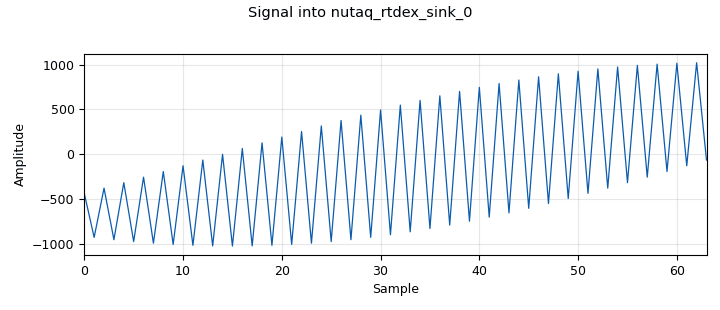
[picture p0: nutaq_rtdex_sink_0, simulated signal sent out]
<?xml version='1.0' encoding='utf-8'?>
<?grc format='1' created='3.7.8'?>
<flow_graph>
<block>
<key>options</key>
<param><key>id</key><value>wifi_tx</value></param>
<param><key>category</key><value>Custom</value></param>
<param><key>generate_options</key><value>qt_gui</value></param>
<param><key>run_options</key><value>run</value></param>
</block>
<block>
<key>variable</key>
<param><key>id</key><value>decimation</value></param>
<param><key>value</key><value>40</value></param>
</block>
<block>
<key>variable_qtgui_chooser</key>
<param><key>id</key><value>encoding</value></param>
<param><key>value</key><value>0</value></param>
<param><key>label0</key><value>"BPSK 1/2"  </value></param>
<param><key>label1</key><value>"BPSK 3/4"</value></param>
<param><key>label2</key><value>"QPSK 1/2"</value></param>
<param><key>label</key><value>Encoding</value></param>
<param><key>num_opts</key><value>3</value></param>
<param><key>option0</key><value>0</value></param>
<param><key>option1</key><value>1</value></param>
<param><key>option2</key><value>2</value></param>
<param><key>type</key><value>int</value></param>
</block>
<block>
<key>variable_chooser</key>
<param><key>id</key><value>encoding</value></param>
<param><key>choices</key><value>[0,1,2,3,4,5,6,7]</value></param>
<param><key>value</key><value>0</value></param>
<param><key>_enabled</key><value>0</value></param>
<param><key>label</key><value>Encoding</value></param>
<param><key>labels</key><value>["BPSK 1/2", "BPSK 3/4", "QPSK 1/2", "QPSK 3/4", "16QAM 1/2", "16QAM 3/4", "64QAM 2/3", "64QAM 3/4"]</value></param>
<param><key>style</key><value>wx.RA_HORIZONTAL</value></param>
<param><key>type</key><value>radio_buttons</value></param>
</block>
<block>
<key>variable_qtgui_range</key>
<param><key>id</key><value>mult</value></param>
<param><key>value</key><value>0.5</value></param>
<param><key>orient</key><value>Qt.Horizontal</value></param>
<param><key>start</key><value>0</value></param>
<param><key>step</key><value>0.001</value></param>
<param><key>stop</key><value>2</value></param>
</block>
<block>
<key>variable_slider</key>
<param><key>id</key><value>mult</value></param>
<param><key>converver</key><value>float_converter</value></param>
<param><key>value</key><value>.4</value></param>
<param><key>_enabled</key><value>0</value></param>
<param><key>label</key><value></value></param>
<param><key>max</key><value>2</value></param>
<param><key>min</key><value>0</value></param>
<param><key>num_steps</key><value>100</value></param>
<param><key>style</key><value>wx.SL_HORIZONTAL</value></param>
</block>
<block>
<key>variable</key>
<param><key>id</key><value>out_buf_size</value></param>
<param><key>value</key><value>96000</value></param>
</block>
<block>
<key>variable_qtgui_range</key>
<param><key>id</key><value>pdu_length</value></param>
<param><key>value</key><value>100</value></param>
<param><key>orient</key><value>Qt.Horizontal</value></param>
<param><key>start</key><value>0</value></param>
<param><key>step</key><value>1</value></param>
<param><key>stop</key><value>1500</value></param>
<param><key>rangeType</key><value>int</value></param>
</block>
<block>
<key>variable_slider</key>
<param><key>id</key><value>pdu_length</value></param>
<param><key>converver</key><value>int_converter</value></param>
<param><key>value</key><value>100</value></param>
<param><key>_enabled</key><value>0</value></param>
<param><key>label</key><value></value></param>
<param><key>max</key><value>1500</value></param>
<param><key>min</key><value>0</value></param>
<param><key>num_steps</key><value>1000</value></param>
<param><key>style</key><value>wx.SL_HORIZONTAL</value></param>
</block>
<block>
<key>variable_qtgui_range</key>
<param><key>id</key><value>period</value></param>
<param><key>value</key><value>1000</value></param>
<param><key>orient</key><value>Qt.Horizontal</value></param>
<param><key>start</key><value>1</value></param>
<param><key>step</key><value>1</value></param>
<param><key>stop</key><value>10000</value></param>
</block>
<block>
<key>variable_slider</key>
<param><key>id</key><value>period</value></param>
<param><key>converver</key><value>int_converter</value></param>
<param><key>value</key><value>100</value></param>
<param><key>_enabled</key><value>0</value></param>
<param><key>label</key><value></value></param>
<param><key>max</key><value>10000</value></param>
<param><key>min</key><value>1</value></param>
<param><key>num_steps</key><value>1000</value></param>
<param><key>style</key><value>wx.SL_HORIZONTAL</value></param>
</block>
<block>
<key>variable</key>
<param><key>id</key><value>samp_rate</value></param>
<param><key>value</key><value>5e5</value></param>
</block>
<block>
<key>COWN_resta</key>
<param><key>id</key><value>COWN_resta_0</value></param>
<param><key>affinity</key><value>1</value></param>
</block>
<block>
<key>COWN_syncher2</key>
<param><key>id</key><value>COWN_syncher2_0</value></param>
<param><key>affinity</key><value>1</value></param>
</block>
<block>
<key>COWN_tag_generator</key>
<param><key>id</key><value>COWN_tag_generator_0</value></param>
<param><key>_enabled</key><value>0</value></param>
</block>
<block>
<key>analog_sig_source_x</key>
<param><key>id</key><value>analog_sig_source_x_0</value></param>
<param><key>amp</key><value>0.5</value></param>
<param><key>affinity</key><value>3</value></param>
<param><key>freq</key><value>5e3</value></param>
<param><key>offset</key><value>0</value></param>
<param><key>type</key><value>complex</value></param>
<param><key>samp_rate</key><value>samp_rate</value></param>
<param><key>waveform</key><value>analog.GR_COS_WAVE</value></param>
</block>
<block>
<key>blocks_complex_to_float</key>
<param><key>id</key><value>blocks_complex_to_float_0</value></param>
<param><key>affinity</key><value>3</value></param>
<param><key>minoutbuf</key><value>2**14</value></param>
</block>
<block>
<key>blocks_deinterleave</key>
<param><key>id</key><value>blocks_deinterleave_0</value></param>
<param><key>affinity</key><value>1</value></param>
<param><key>type</key><value>int</value></param>
<param><key>minoutbuf</key><value>2**15</value></param>
<param><key>num_streams</key><value>4</value></param>
</block>
<block>
<key>blocks_float_to_complex</key>
<param><key>id</key><value>blocks_float_to_complex_0</value></param>
<param><key>affinity</key><value>2</value></param>
</block>
<block>
<key>blocks_float_to_short</key>
<param><key>id</key><value>blocks_float_to_short_0_0</value></param>
<param><key>affinity</key><value>3</value></param>
<param><key>scale</key><value>2**11-1</value></param>
</block>
<block>
<key>blocks_float_to_short</key>
<param><key>id</key><value>blocks_float_to_short_0_0_0</value></param>
<param><key>affinity</key><value>3</value></param>
<param><key>scale</key><value>2**11-1</value></param>
</block>
<block>
<key>blocks_interleave</key>
<param><key>id</key><value>blocks_interleave_0</value></param>
<param><key>affinity</key><value>3</value></param>
<param><key>type</key><value>short</value></param>
</block>
<block>
<key>blocks_message_strobe</key>
<param><key>id</key><value>blocks_message_strobe_0_0</value></param>
<param><key>_enabled</key><value>0</value></param>
<param><key>msg</key><value>pmt.intern("".join("x" for i in range(pdu_length)))</value></param>
<param><key>period</key><value>period</value></param>
</block>
<block>
<key>blocks_multiply_const_vxx</key>
<param><key>id</key><value>blocks_multiply_const_vxx_0</value></param>
<param><key>const</key><value>mult</value></param>
<param><key>_enabled</key><value>0</value></param>
<param><key>type</key><value>complex</value></param>
<param><key>minoutbuf</key><value>100000</value></param>
</block>
<block>
<key>blocks_null_sink</key>
<param><key>id</key><value>blocks_null_sink_0</value></param>
<param><key>bus_conns</key><value>[[0,],]</value></param>
<param><key>_enabled</key><value>0</value></param>
<param><key>type</key><value>complex</value></param>
</block>
<block>
<key>blocks_null_sink</key>
<param><key>id</key><value>blocks_null_sink_0_0</value></param>
<param><key>bus_conns</key><value>[[0,],]</value></param>
<param><key>type</key><value>int</value></param>
</block>
<block>
<key>blocks_null_sink</key>
<param><key>id</key><value>blocks_null_sink_0_1</value></param>
<param><key>bus_conns</key><value>[[0,],]</value></param>
<param><key>type</key><value>float</value></param>
</block>
<block>
<key>blocks_null_sink</key>
<param><key>id</key><value>blocks_null_sink_0_2</value></param>
<param><key>bus_conns</key><value>[[0,],]</value></param>
<param><key>_enabled</key><value>0</value></param>
<param><key>type</key><value>complex</value></param>
</block>
<block>
<key>blocks_null_source</key>
<param><key>id</key><value>blocks_null_source_0</value></param>
<param><key>bus_conns</key><value>[[0,],]</value></param>
<param><key>_enabled</key><value>0</value></param>
<param><key>type</key><value>complex</value></param>
</block>
<block>
<key>blocks_socket_pdu</key>
<param><key>id</key><value>blocks_socket_pdu_0</value></param>
<param><key>_enabled</key><value>0</value></param>
<param><key>host</key><value></value></param>
<param><key>mtu</key><value>10000</value></param>
<param><key>port</key><value>52001</value></param>
<param><key>tcp_no_delay</key><value>False</value></param>
<param><key>type</key><value>"UDP_SERVER"</value></param>
</block>
<block>
<key>foo_packet_pad2</key>
<param><key>id</key><value>foo_packet_pad2_0</value></param>
<param><key>debug</key><value>False</value></param>
<param><key>delay_sec</key><value>0.01</value></param>
<param><key>delay</key><value>False</value></param>
<param><key>_enabled</key><value>0</value></param>
<param><key>minoutbuf</key><value>out_buf_size</value></param>
<param><key>pad_front</key><value>5000</value></param>
<param><key>pad_tail</key><value>5000</value></param>
</block>
<block>
<key>ieee802_11_ofdm_mac</key>
<param><key>id</key><value>ieee802_11_ofdm_mac_0</value></param>
<param><key>bss_mac</key><value>[0xff, 0xff, 0xff, 0xff, 0xff, 255]</value></param>
<param><key>dst_mac</key><value>[0x42, 0x42, 0x42, 0x42, 0x42, 0x42]</value></param>
<param><key>_enabled</key><value>0</value></param>
<param><key>src_mac</key><value>[0x23, 0x23, 0x23, 0x23, 0x23, 0x23]</value></param>
</block>
<block>
<key>nutaq_carrier_perseus</key>
<param><key>id</key><value>nutaq_carrier_perseus_0</value></param>
<param><key>ip_addr</key><value>192.168.0.102</value></param>
</block>
<block>
<key>nutaq_radio420_rx</key>
<param><key>id</key><value>nutaq_radio420_rx_0</value></param>
<param><key>calibrate</key><value>1</value></param>
<param><key>band</key><value>0</value></param>
<param><key>block_priority</key><value>1</value></param>
<param><key>selected_card</key><value>1</value></param>
<param><key>datarate</key><value>samp_rate*2*decimation</value></param>
<param><key>enable</key><value>1</value></param>
<param><key>pll_cpld_ctrl</key><value>0</value></param>
<param><key>rx_rf_filter</key><value>2</value></param>
<param><key>rx_gain_ctrl</key><value>0</value></param>
<param><key>rx_lna_gain</key><value>3</value></param>
<param><key>rx_lpf_bandwidth</key><value>2</value></param>
<param><key>rx_vga1_gain</key><value>3</value></param>
<param><key>rx_freq</key><value>943e6</value></param>
<param><key>rx_gain2</key><value>0</value></param>
<param><key>rx_gain3</key><value>3</value></param>
<param><key>rf_ctrl</key><value>0</value></param>
<param><key>ref_clk_ctrl</key><value>0</value></param>
<param><key>reference</key><value>0</value></param>
<param><key>target_id</key><value>nutaq_carrier_perseus_0</value></param>
<param><key>update_rate</key><value>0.1</value></param>
</block>
<block>
<key>nutaq_radio420_tx</key>
<param><key>id</key><value>nutaq_radio420_tx_0_0</value></param>
<param><key>calibrate</key><value>0</value></param>
<param><key>band</key><value>0</value></param>
<param><key>block_priority</key><value>0</value></param>
<param><key>selected_card</key><value>1</value></param>
<param><key>datarate</key><value>samp_rate*2*decimation</value></param>
<param><key>enable</key><value>1</value></param>
<param><key>pll_cpld_ctrl</key><value>0</value></param>
<param><key>rf_ctrl</key><value>0</value></param>
<param><key>ref_clk_ctrl</key><value>0</value></param>
<param><key>reference</key><value>0</value></param>
<param><key>tx_gain_ctrl</key><value>0</value></param>
<param><key>tx_lpf_bandwidth</key><value>2</value></param>
<param><key>tx_vga1_gain</key><value>-15</value></param>
<param><key>tx_vga2_gain</key><value>5</value></param>
<param><key>tx_freq</key><value>943e6</value></param>
<param><key>tx_gain3</key><value>0</value></param>
<param><key>target_id</key><value>nutaq_carrier_perseus_0</value></param>
<param><key>update_rate</key><value>1</value></param>
</block>
<block>
<key>nutaq_rtdex_sink</key>
<param><key>id</key><value>nutaq_rtdex_sink_0</value></param>
<param><key>block_priority</key><value>1</value></param>
<param><key>channels</key><value>0</value></param>
<param><key>affinity</key><value>3</value></param>
<param><key>type</key><value>short</value></param>
<param><key>media_type</key><value>0</value></param>
<param><key>num_chan</key><value>1</value></param>
<param><key>packet_size</key><value>8192</value></param>
<param><key>target_id</key><value>nutaq_carrier_perseus_0</value></param>
</block>
<block>
<key>nutaq_rtdex_source</key>
<param><key>id</key><value>nutaq_rtdex_source_0</value></param>
<param><key>block_priority</key><value>0</value></param>
<param><key>channels</key><value>0</value></param>
<param><key>affinity</key><value>1</value></param>
<param><key>media_type</key><value>0</value></param>
<param><key>num_chan</key><value>1</value></param>
<param><key>type</key><value>int</value></param>
<param><key>packet_size</key><value>8192</value></param>
<param><key>target_id</key><value>nutaq_carrier_perseus_0</value></param>
</block>
<block>
<key>qtgui_time_sink_x</key>
<param><key>id</key><value>qtgui_time_sink_x_0</value></param>
<param><key>autoscale</key><value>True</value></param>
<param><key>grid</key><value>True</value></param>
<param><key>color1</key><value>"blue"</value></param>
<param><key>label1</key><value></value></param>
<param><key>color2</key><value>"red"</value></param>
<param><key>label2</key><value></value></param>
<param><key>size</key><value>2**13</value></param>
<param><key>srate</key><value>samp_rate</value></param>
<param><key>tr_level</key><value>0.02</value></param>
<param><key>tr_mode</key><value>qtgui.TRIG_MODE_NORM</value></param>
<param><key>type</key><value>complex</value></param>
<param><key>update_time</key><value>1</value></param>
</block>
<block>
<key>wifi_phy_hier</key>
<param><key>id</key><value>wifi_phy_hier_0</value></param>
<param><key>_enabled</key><value>0</value></param>
<param><key>chan_est</key><value>0</value></param>
<param><key>encoding</key><value>encoding</value></param>
</block>
<block>
<key>wxgui_scopesink2</key>
<param><key>id</key><value>wxgui_scopesink2_0</value></param>
<param><key>ac_couple</key><value>False</value></param>
<param><key>_enabled</key><value>0</value></param>
<param><key>num_inputs</key><value>1</value></param>
<param><key>samp_rate</key><value>samp_rate</value></param>
<param><key>t_scale</key><value>0</value></param>
<param><key>title</key><value>Scope Plot</value></param>
<param><key>trig_mode</key><value>wxgui.TRIG_MODE_AUTO</value></param>
<param><key>type</key><value>complex</value></param>
<param><key>v_offset</key><value>0</value></param>
<param><key>v_scale</key><value>0</value></param>
<param><key>xy_mode</key><value>False</value></param>
<param><key>y_axis_label</key><value>Counts</value></param>
</block>
<connection><source_block_id>COWN_resta_0</source_block_id><sink_block_id>blocks_null_sink_0_0</sink_block_id><source_key>0</source_key><sink_key>0</sink_key></connection>
<connection><source_block_id>COWN_syncher2_0</source_block_id><sink_block_id>COWN_tag_generator_0</sink_block_id><source_key>0</source_key><sink_key>0</sink_key></connection>
<connection><source_block_id>COWN_syncher2_0</source_block_id><sink_block_id>blocks_deinterleave_0</sink_block_id><source_key>0</source_key><sink_key>0</sink_key></connection>
<connection><source_block_id>analog_sig_source_x_0</source_block_id><sink_block_id>blocks_complex_to_float_0</sink_block_id><source_key>0</source_key><sink_key>0</sink_key></connection>
<connection><source_block_id>blocks_complex_to_float_0</source_block_id><sink_block_id>blocks_float_to_short_0_0_0</sink_block_id><source_key>1</source_key><sink_key>0</sink_key></connection>
<connection><source_block_id>blocks_complex_to_float_0</source_block_id><sink_block_id>blocks_float_to_short_0_0</sink_block_id><source_key>0</source_key><sink_key>0</sink_key></connection>
<connection><source_block_id>blocks_deinterleave_0</source_block_id><sink_block_id>blocks_null_sink_0_1</sink_block_id><source_key>0</source_key><sink_key>0</sink_key></connection>
<connection><source_block_id>blocks_deinterleave_0</source_block_id><sink_block_id>blocks_float_to_complex_0</sink_block_id><source_key>1</source_key><sink_key>0</sink_key></connection>
<connection><source_block_id>blocks_deinterleave_0</source_block_id><sink_block_id>blocks_float_to_complex_0</sink_block_id><source_key>2</source_key><sink_key>1</sink_key></connection>
<connection><source_block_id>blocks_deinterleave_0</source_block_id><sink_block_id>COWN_resta_0</sink_block_id><source_key>3</source_key><sink_key>0</sink_key></connection>
<connection><source_block_id>blocks_float_to_complex_0</source_block_id><sink_block_id>qtgui_time_sink_x_0</sink_block_id><source_key>0</source_key><sink_key>0</sink_key></connection>
<connection><source_block_id>blocks_float_to_complex_0</source_block_id><sink_block_id>wxgui_scopesink2_0</sink_block_id><source_key>0</source_key><sink_key>0</sink_key></connection>
<connection><source_block_id>blocks_float_to_short_0_0</source_block_id><sink_block_id>blocks_interleave_0</sink_block_id><source_key>0</source_key><sink_key>0</sink_key></connection>
<connection><source_block_id>blocks_float_to_short_0_0_0</source_block_id><sink_block_id>blocks_interleave_0</sink_block_id><source_key>0</source_key><sink_key>1</sink_key></connection>
<connection><source_block_id>blocks_interleave_0</source_block_id><sink_block_id>nutaq_rtdex_sink_0</sink_block_id><source_key>0</source_key><sink_key>0</sink_key></connection>
<connection><source_block_id>blocks_message_strobe_0_0</source_block_id><sink_block_id>ieee802_11_ofdm_mac_0</sink_block_id><source_key>strobe</source_key><sink_key>app in</sink_key></connection>
<connection><source_block_id>blocks_multiply_const_vxx_0</source_block_id><sink_block_id>foo_packet_pad2_0</sink_block_id><source_key>0</source_key><sink_key>0</sink_key></connection>
<connection><source_block_id>blocks_null_source_0</source_block_id><sink_block_id>wifi_phy_hier_0</sink_block_id><source_key>0</source_key><sink_key>0</sink_key></connection>
<connection><source_block_id>blocks_socket_pdu_0</source_block_id><sink_block_id>ieee802_11_ofdm_mac_0</sink_block_id><source_key>pdus</source_key><sink_key>app in</sink_key></connection>
<connection><source_block_id>foo_packet_pad2_0</source_block_id><sink_block_id>blocks_null_sink_0_2</sink_block_id><source_key>0</source_key><sink_key>0</sink_key></connection>
<connection><source_block_id>ieee802_11_ofdm_mac_0</source_block_id><sink_block_id>wifi_phy_hier_0</sink_block_id><source_key>phy out</source_key><sink_key>mac_in</sink_key></connection>
<connection><source_block_id>nutaq_rtdex_source_0</source_block_id><sink_block_id>COWN_syncher2_0</sink_block_id><source_key>0</source_key><sink_key>0</sink_key></connection>
<connection><source_block_id>wifi_phy_hier_0</source_block_id><sink_block_id>blocks_null_sink_0</sink_block_id><source_key>1</source_key><sink_key>0</sink_key></connection>
<connection><source_block_id>wifi_phy_hier_0</source_block_id><sink_block_id>ieee802_11_ofdm_mac_0</sink_block_id><source_key>mac_out</source_key><sink_key>phy in</sink_key></connection>
<connection><source_block_id>wifi_phy_hier_0</source_block_id><sink_block_id>blocks_multiply_const_vxx_0</sink_block_id><source_key>0</source_key><sink_key>0</sink_key></connection>
</flow_graph>
